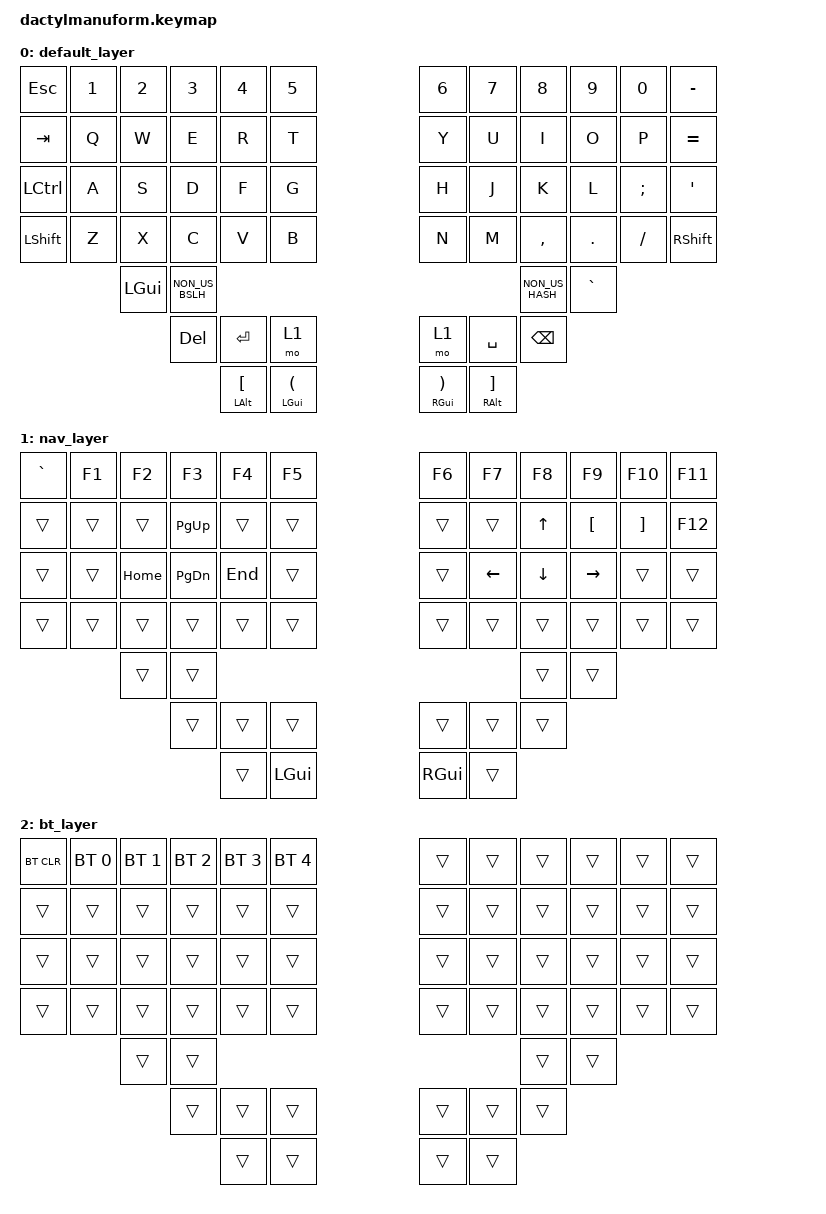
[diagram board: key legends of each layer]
#include <behaviors.dtsi>
#include <dt-bindings/zmk/keys.h>
#include <dt-bindings/zmk/bt.h>

/ {
    keymap {
        compatible = "zmk,keymap";

        default_layer {
            bindings = <
            &kp ESC   &kp N1  &kp N2   &kp N3          &kp N4   &kp N5                               &kp N6        &kp N7    &kp N8          &kp N9    &kp N0   &kp MINUS 
            &kp TAB   &kp Q   &kp W    &kp E           &kp R    &kp T                                &kp Y         &kp U     &kp I           &kp O     &kp P    &kp EQUAL
            &kp LCTRL &kp A   &kp S    &kp D           &kp F    &kp G                                &kp H         &kp J     &kp K           &kp L     &kp SEMI &kp SQT
            &kp LSHFT &kp Z   &kp X    &kp C           &kp V    &kp B                                &kp N         &kp M     &kp COMMA       &kp DOT   &kp FSLH &kp RSHFT
                              &kp LGUI &kp NON_US_BSLH                                                                       &kp NON_US_HASH &kp GRAVE
                                       &kp DEL         &kp RET  &mo 1                                &mo 1         &kp SPACE  &kp BSPC          
                                                       &mt LALT LBKT &mt LGUI LPAR                   &mt RGUI RPAR &mt RALT RBKT
            >;
        };
        nav_layer {
            bindings = <
            &kp GRAVE &kp F1  &kp F2   &kp F3    &kp F4   &kp F5                           &kp F6  &kp F7   &kp F8   &kp F9    &kp F10  &kp F11
            &trans    &trans  &trans   &kp PG_UP &trans   &trans                           &trans  &trans   &kp UP   &kp LBKT  &kp RBKT &kp F12
            &trans    &trans  &kp HOME &kp PG_DN &kp END  &trans                           &trans  &kp LEFT &kp DOWN &kp RIGHT &trans  &trans
            &trans    &trans  &trans   &trans    &trans   &trans                           &trans  &trans   &trans   &trans    &trans  &trans
                              &trans   &trans                                                               &trans   &trans
                                                 &trans  &trans  &trans          &trans    &trans  &trans
                                                         &trans  &kp LGUI        &kp RGUI  &trans

            >;
        };
        bt_layer {
            bindings = <
            &bt BT_CLR  &bt BT_SEL 0  &bt BT_SEL 1  &bt BT_SEL 2  &bt BT_SEL 3  &bt BT_SEL 4     &trans  &trans  &trans  &trans   &trans  &trans 
            &trans    &trans  &trans  &trans  &trans   &trans                                       &trans  &trans   &trans    &trans    &trans &trans 
            &trans    &trans  &trans  &trans  &trans   &trans                                       &trans  &trans   &trans   &trans    &trans  &trans
            &trans    &trans  &trans   &trans    &trans   &trans                                      &trans  &trans   &trans   &trans    &trans  &trans
                              &trans   &trans                                                                        &trans   &trans
                                                 &trans  &trans  &trans                    &trans    &trans  &trans
                                                         &trans  &trans                       &trans   &trans

            >;            
        };
    };

    combos {
        compatible = "zmk,combos";
        combo_bt {
            timeout-ms = <50>;
            key-positions = <54 55>;
            bindings = <&mo 2>;
        };
        combo_rst {
            timeout-ms = <50>;
            key-positions = <36 47 54 55>;
            bindings = <&bootloader>;
        };
    };  
};


